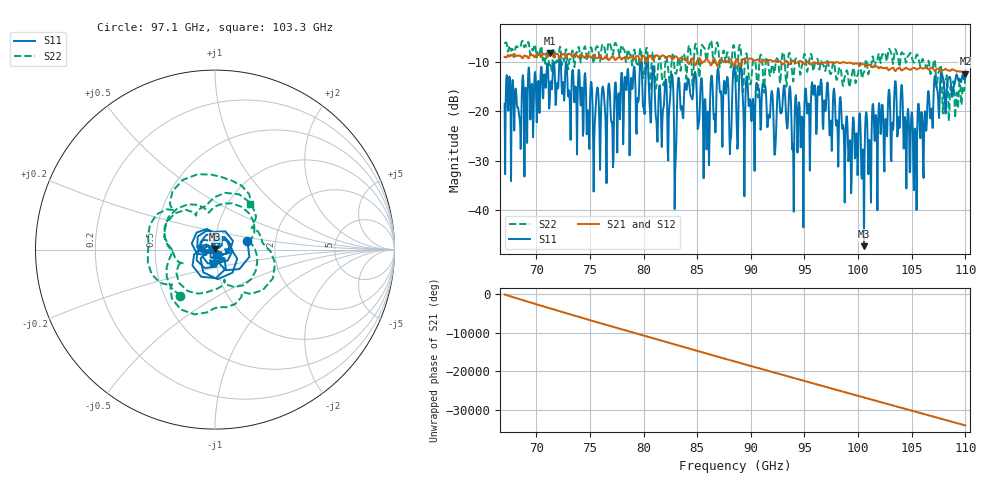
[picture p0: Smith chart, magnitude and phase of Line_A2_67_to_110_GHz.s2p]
#  HZ  S  MA  R  50.00
! Rohde & Schwarz ZVA67 4Ports - Version 4.11 - 1305.7002k04 SN: 101051
! Date: 2023-09-13 16:08:49
! Measurements: S11 S21 S12 S22
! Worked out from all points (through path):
!   860 points, 67.05 GHz to 110 GHz, reference 50 ohm
!   highest |S21| = -8.23 dB at 71.25 GHz (marker M1); lowest = -12.4 dB at 110 GHz (marker M2)
!   lowest |S11| = -47.3 dB at 100.5 GHz (marker M3), VSWR 1.01, Z = 50.1 + j0.41 ohm
!   |S11| at or under -10 dB: start of sweep to 72.15 GHz; 72.8 GHz to 79.7 GHz (6.894 GHz wide, 9.04 % of centre); 80.39 GHz to end of sweep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
!   |S22| runs from -22.0 to -5.6 dB; largest |S21 - S12| = 0.053
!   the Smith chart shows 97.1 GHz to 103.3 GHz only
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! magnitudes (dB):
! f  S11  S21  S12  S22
! 67.05 GHz  -18.5  -9.0  -9.0  -6.0
! 71.25 GHz  -18.4  -8.2  -8.2  -10.7
! 74.25 GHz  -15.2  -8.7  -8.7  -8.3
! 77.1 GHz  -23.6  -8.9  -8.8  -8.4
! 80.35 GHz  -9.1  -9.9  -9.9  -7.6
! 81.4 GHz  -17.3  -8.9  -8.9  -9.9
! 82.6 GHz  -13.0  -9.3  -9.2  -10.5
! 83 GHz  -29.3  -8.9  -8.8  -12.4
! 83.3 GHz  -13.3  -9.5  -9.4  -9.0
! 84.75 GHz  -12.4  -10.4  -10.4  -7.6
! 86 GHz  -20.0  -9.6  -9.6  -7.9
! 87 GHz  -11.9  -10.3  -10.3  -7.9
! 88.55 GHz  -13.2  -10.0  -10.0  -9.6
! 92.25 GHz  -28.7  -9.8  -9.8  -11.6
! 93.05 GHz  -15.3  -10.4  -10.4  -8.2
! 93.95 GHz  -28.7  -9.7  -9.7  -14.0
! 95.7 GHz  -14.1  -10.4  -10.4  -9.2
! 100.5 GHz  -47.3  -10.5  -10.5  -12.1
! 102.8 GHz  -15.8  -11.7  -11.7  -7.4
! 105.3 GHz  -23.5  -11.3  -11.2  -9.8
! 107.2 GHz  -14.1  -11.6  -11.6  -12.7
! 110 GHz  -12.9  -12.4  -12.3  -12.5
